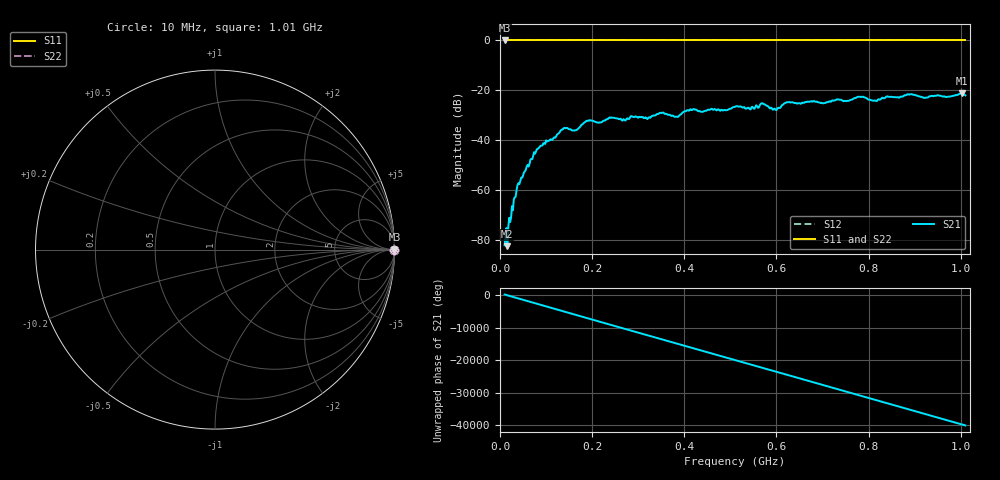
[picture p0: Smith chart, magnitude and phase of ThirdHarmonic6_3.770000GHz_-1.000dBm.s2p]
! 8/17/2025 12:58:30 PM
! C:\ANRITSUVNA\TEMP\TEMP.S2P
! CHANNEL.1
! TR.MEASUREMENT
! RAW.DATA
! RF.CORRECTION.OFF
! AVERAGING.OFF
! IF.BANDWIDTH: 5KHZ
! SWEEPTYPE:  FREQ.SWEEP(Linear)
! Reference Plane Port Info
! PORT:  PORT1  PORT2
! DISTANCE:  0  m  0  m
! TIME:  0  s  0  s
! PHASE.OFFSET:  0  deg.  0  deg.
! LOSS:  0  dB  0  dB
! REF.LOSS:  0  dB  0  dB
! REF.FREQ:  0  Hz  0  Hz
! Power Info
! POWER:  -20  dBm  -20  dBm
! EFF.POWER:  -20  dBm  -20  dBm
! SOURCE.ATTEN:  0  dB  0  dB
! TEST.ATTEN:  0  dB  0  dB
# GHZ S RI R 50.0
! FREQ.GHZ  S11RE  S11IM  S21RE  S21IM  S12RE  S12IM  S22RE  S22IM
!; PortSelection: Port_12
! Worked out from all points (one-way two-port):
!   501 points, 10 MHz to 1.01 GHz, reference 50 ohm
!   highest |S21| = -21.22 dB at 1.002 GHz (marker M1); lowest = -82.4 dB at 16 MHz (marker M2)
!   lowest |S11| = 0.0 dB at 10 MHz (marker M3)
!   |S11| at or under -10 dB: nowhere
!   |S22| runs from 0.0 to 0.0 dB; largest |S21 - S12| = 1.1
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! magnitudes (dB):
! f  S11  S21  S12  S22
! 10 MHz  0.0  -82.0  0.0  0.0
! 16 MHz  0.0  -82.4  0.0  0.0
! 40 MHz  0.0  -57.1  0.0  0.0
! 78 MHz  0.0  -44.5  0.0  0.0
! 136 MHz  0.0  -35.6  0.0  0.0
! 162 MHz  0.0  -36.1  0.0  0.0
! 178 MHz  0.0  -33.6  0.0  0.0
! 192 MHz  0.0  -32.0  0.0  0.0
! 344 MHz  0.0  -29.4  0.0  0.0
! 382 MHz  0.0  -30.5  0.0  0.0
! 410 MHz  0.0  -28.1  0.0  0.0
! 510 MHz  0.0  -26.6  0.0  0.0
! 540 MHz  0.0  -27.0  0.0  0.0
! 570 MHz  0.0  -25.2  0.0  0.0
! 596 MHz  0.0  -27.3  0.0  0.0
! 624 MHz  0.0  -24.7  0.0  0.0
! 678 MHz  0.0  -24.5  0.0  0.0
! 782 MHz  0.0  -22.6  0.0  0.0
! 814 MHz  0.0  -24.1  0.0  0.0
! 844 MHz  0.0  -22.5  0.0  0.0
! 1.002 GHz  0.0  -21.2  0.0  0.0
! 1.01 GHz  0.0  -22.0  0.0  0.0
